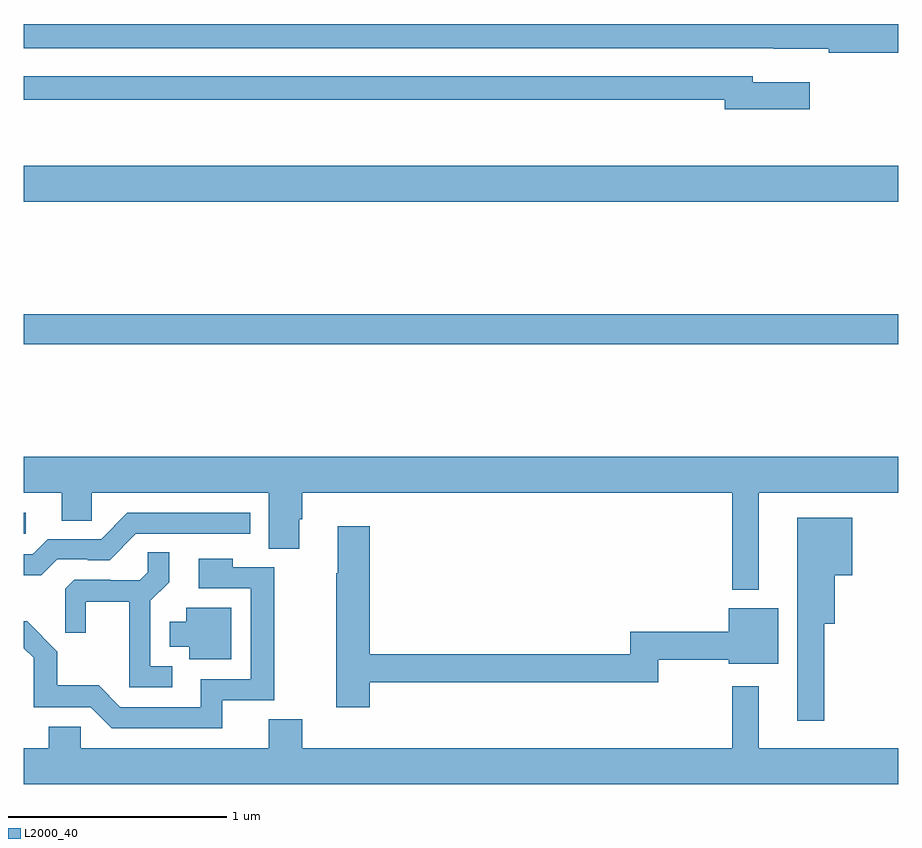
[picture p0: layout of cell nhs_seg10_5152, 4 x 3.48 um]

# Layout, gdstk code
import gdstk
lib = gdstk.Library(unit=1e-6, precision=1e-09)
def R(c, l, rs):  # rectangles x0, y0, x1, y1
    for r in rs: c.add(gdstk.rectangle(r[:2], r[2:], *l))
def P(c, l, *ps):  # polygons
    for p in ps: c.add(gdstk.Polygon(p, *l))
L2000_40 = (2000, 40)

nhs_seg10_5152 = lib.new_cell('nhs_seg10_5152')
R(nhs_seg10_5152, L2000_40, [(411,1260.168,411.01,1260.264), (411,1261.036,415,1261.172), (411,1261.688,415,1261.852)])
P(nhs_seg10_5152, L2000_40, [(415,1262.5),(411,1262.5),(411,1262.388),(414.43,1262.388),(414.43,1262.387),(414.682,1262.387),(414.682,1262.368),(415,1262.368)],
  [(414.595,1262.233),(414.334,1262.233),(414.334,1262.262),(411,1262.262),(411,1262.154),(414.206,1262.154),(414.206,1262.111),(414.595,1262.111)],
  [(414.361,1260.356),(415,1260.356),(415,1260.52),(411,1260.52),(411,1260.356),(411.173,1260.356),(411.173,1260.229),(411.312,1260.229),(411.312,1260.356),(412.121,1260.356),(412.121,1260.1),(412.261,1260.1),(412.261,1260.234),(412.274,1260.234),(412.274,1260.356),(414.24,1260.356),(414.24,1259.912),(414.361,1259.912)],
  [(411.153,1260.051),(411.292,1260.051),(411.292,1260.048),(411.393,1260.048),(411.513,1260.168),(412.036,1260.168),(412.036,1260.264),(411.474,1260.264),(411.354,1260.144),(411.111,1260.144),(411.042,1260.075),(411,1260.075),(411,1259.978),(411.08,1259.978)],
  [(414.661,1259.756),(414.71,1259.756),(414.71,1259.978),(414.79,1259.978),(414.79,1260.241),(414.539,1260.241),(414.539,1259.313),(414.661,1259.313)],
  [(412.583,1259.49),(413.902,1259.49),(413.902,1259.592),(414.224,1259.592),(414.224,1259.573),(414.451,1259.573),(414.451,1259.827),(414.224,1259.827),(414.224,1259.72),(413.773,1259.72),(413.773,1259.618),(412.583,1259.618),(412.583,1260.202),(412.436,1260.202),(412.436,1259.989),(412.429,1259.989),(412.429,1259.376),(412.583,1259.376)],
  [(411.679,1259.562),(411.579,1259.562),(411.579,1259.861),(411.665,1259.947),(411.665,1260.083),(411.567,1260.083),(411.567,1259.992),(411.53,1259.955),(411.396,1259.955),(411.396,1259.958),(411.231,1259.958),(411.19,1259.917),(411.19,1259.715),(411.284,1259.715),(411.284,1259.858),(411.482,1259.858),(411.482,1259.466),(411.679,1259.466)],
  [(411.908,1259.406),(412.147,1259.406),(412.147,1260.015),(411.957,1260.015),(411.957,1260.055),(411.801,1260.055),(411.801,1259.919),(412.038,1259.919),(412.038,1259.502),(411.809,1259.502),(411.809,1259.376),(411.441,1259.376),(411.343,1259.475),(411.154,1259.475),(411.154,1259.63),(411.016,1259.768),(411,1259.768),(411,1259.646),(411.045,1259.601),(411.045,1259.376),(411.306,1259.376),(411.402,1259.28),(411.908,1259.28)],
  [(411.949,1259.83),(411.743,1259.83),(411.743,1259.767),(411.668,1259.767),(411.668,1259.651),(411.758,1259.651),(411.758,1259.594),(411.949,1259.594)],
  [(415,1259.188),(414.361,1259.188),(414.361,1259.47),(414.24,1259.47),(414.24,1259.188),(412.274,1259.188),(412.274,1259.321),(412.121,1259.321),(412.121,1259.188),(411.261,1259.188),(411.261,1259.286),(411.115,1259.286),(411.115,1259.188),(411,1259.188),(411,1259.024),(415,1259.024)])

lib.write_gds('nhs_seg10_5152.gds')
